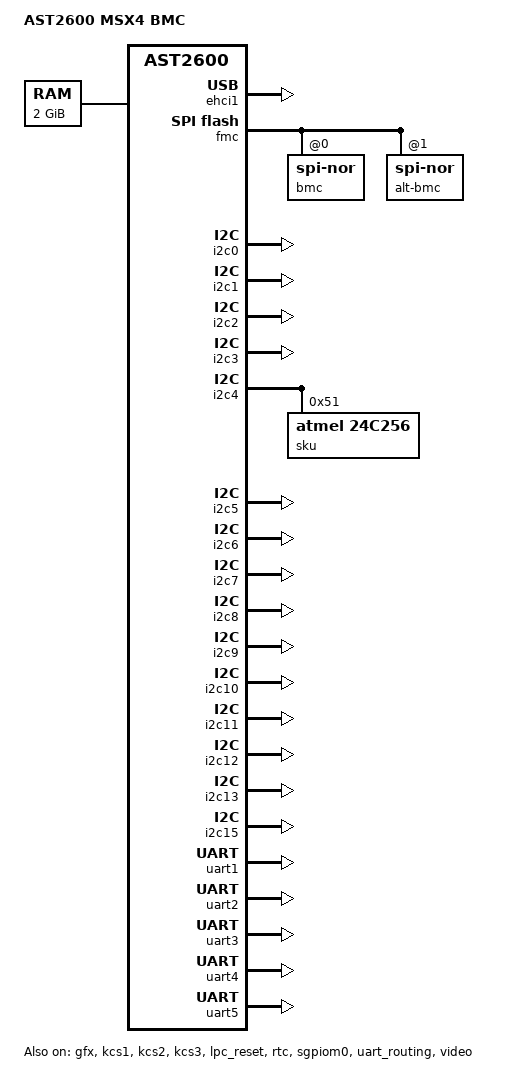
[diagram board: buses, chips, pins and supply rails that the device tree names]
// SPDX-License-Identifier: GPL-2.0
/dts-v1/;

#include "aspeed-g6.dtsi"
#include <dt-bindings/gpio/aspeed-gpio.h>
#include <dt-bindings/i2c/i2c.h>

/ {
	model = "AST2600 MSX4 BMC";
	compatible = "nvidia,msx4-bmc", "aspeed,ast2600";

	aliases {
		serial0 = &uart1;
		serial1 = &uart2;
		serial2 = &uart3;
		serial3 = &uart4;
		serial4 = &uart5;
	};

	chosen {
		stdout-path = "uart5:115200n8";
	};

	memory@80000000 {
		device_type = "memory";
		reg = <0x80000000 0x80000000>;
	};

	reserved-memory {
		#address-cells = <1>;
		#size-cells = <1>;
		ranges;

		gfx_memory: framebuffer {
			compatible = "shared-dma-pool";
			size = <0x01000000>;
			alignment = <0x01000000>;
			reusable;
		};

		video_engine_memory: jpegbuffer {
			compatible = "shared-dma-pool";
			size = <0x02000000>;	/* 32M */
			alignment = <0x01000000>;
			reusable;
		};
	};
};

&ehci1 {
	status = "okay";
};

&fmc {
	status = "okay";

	flash@0 {
		compatible = "jedec,spi-nor";
		label = "bmc";
		status = "okay";
		#include "openbmc-flash-layout-128.dtsi"
	};

	flash@1 {
		compatible = "jedec,spi-nor";
		label = "alt-bmc";
		spi-tx-bus-width = <1>;
		spi-rx-bus-width = <1>;
		status = "okay";
	};
};

&gfx {
	memory-region = <&gfx_memory>;
	status = "okay";
};

&gpio0 {
	gpio-line-names =
	/*A0-A7*/	"","","","","","","","",
	/*B0-B7*/	"ASSERT_BMC_READY","","","","","","","",
	/*C0-C7*/	"MON_PWR_GOOD","","","","","","","FP_ID_LED_N",
	/*D0-D7*/	"","","","","","","","",
	/*E0-E7*/	"","","","","","","","",
	/*F0-F7*/	"","","","","","","","",
	/*G0-G7*/	"","","FP_LED_STATUS_GREEN_N","FP_LED_STATUS_AMBER_N",
			"","","","",
	/*H0-H7*/	"","","","","","","","",
	/*I0-I7*/	"","","","","","","","",
	/*J0-J7*/	"","","","","","","","",
	/*K0-K7*/	"","","","","","","","",
	/*L0-L7*/	"","","","","","","","",
	/*M0-M7*/	"","","","","","","","",
	/*N0-N7*/	"","","","","","","","",
	/*O0-O7*/	"","","","","","","","",
	/*P0-P7*/	"MON_PWR_BTN_L","ASSERT_PWR_BTN_L","MON_RST_BTN_L",
			"ASSERT_RST_BTN_L","","ASSERT_NMI_BTN_L","","",
	/*Q0-Q7*/	"","","MEMORY_HOT_0","MEMORY_HOT_1","","","","",
	/*R0-R7*/	"ID_BTN","","","","","VBAT_GPIO","","",
	/*S0-S7*/	"","","RST_PCA_MUX","","","","","",
	/*T0-T7*/	"","","","","","","","",
	/*U0-U7*/	"","","","","","","","",
	/*V0-V7*/	"","","","","","","","",
	/*W0-W7*/	"","","","","","","","",
	/*X0-X7*/	"","","","","","","","",
	/*Y0-Y7*/	"","","","","","","","",
	/*Z0-Z7*/	"","","","","","","","";
};

&gpio1 {
	gpio-line-names =
	/*18A0-18A7*/ "","","","","","","","",
	/*18B0-18B7*/ "","","","","","","","",
	/*18C0-18C7*/ "","","","","","","","",
	/*18D0-18D7*/ "","","","","","","","",
	/*18E0-18E3*/ "","","BMC_INIT_DONE","";
};

// Devices on these busses are available after POST
// however there isn't a great way to defer probing
// until that point today, as the BMC doesn't
// have direct control over when the host completes
// POST, especially from the kernel.
&i2c0 {
	status = "okay";
};

&i2c1 {
	status = "okay";
};

&i2c2 {
	status = "okay";
};

&i2c3 {
	status = "okay";
};

&i2c4 {
	status = "okay";

	eeprom@51 {
		compatible = "atmel,24c256";
		reg = <0x51>;
		pagesize = <64>;
		label = "sku";
	};
};

&i2c5 {
	status = "okay";
};

&i2c6 {
	status = "okay";
};

&i2c7 {
	status = "okay";
};

&i2c8 {
	status = "okay";
};

&i2c9 {
	status = "okay";
};

&i2c10 {
	status = "okay";
};

&i2c11 {
	status = "okay";
};

&i2c12 {
	status = "okay";
};

&i2c13 {
	status = "okay";
};

&i2c15 {
	status = "okay";
};

&kcs1 {
	aspeed,lpc-io-reg = <0xca0>;
	status = "okay";
};

&kcs2 {
	aspeed,lpc-io-reg = <0xca8>;
	status = "okay";
};

&kcs3 {
	aspeed,lpc-io-reg = <0xca2>;
	status = "okay";
};

&lpc_reset {
	status = "okay";
};

&rtc {
	status = "okay";
};

&sgpiom0 {
	ngpios = <80>;
	status = "okay";
};

&uart_routing {
	status = "okay";
};

&uart1 {
	status = "okay";
};

&uart2 {
	status = "okay";
};

&uart3 {
	status = "okay";
};

&uart4 {
	status = "okay";
};

&uart5 {
	status = "okay";
};

&video {
	memory-region = <&video_engine_memory>;
	status = "okay";
};
